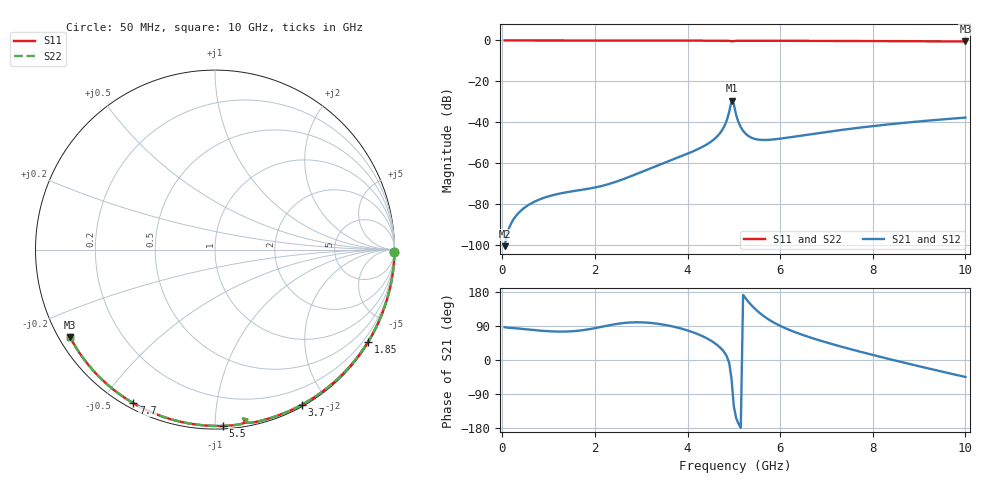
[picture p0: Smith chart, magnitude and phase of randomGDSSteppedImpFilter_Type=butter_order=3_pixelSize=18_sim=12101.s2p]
! freq	dB(S11)	phase(S11)	dB(S12)	phase(S12)
!  dB(S21)	phase(S21)	dB(S22)	phase(S22)
!S-par simulation data
#  GHz  S  DB  R 50
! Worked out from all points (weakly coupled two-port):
!   200 points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, 50 MHz to 10 GHz, reference 50 ohm
!   highest |S21| = -29.40 dB at 4.95 GHz (marker M1); lowest = -100.3 dB at 50 MHz (marker M2)
!   lowest |S11| = -0.5 dB at 10 GHz (marker M3), VSWR 34.31, Z = 1.57 - j14 ohm
!   |S11| at or under -10 dB: nowhere
!   |S22| runs from -0.5 to 0.0 dB; largest |S21 - S12| = 0
!   S11 on the Smith chart (normalised r, x): 50 MHz: open; 1.85 GHz: 0.03, -3.58; 3.7 GHz: 0.02, -1.70; 5.5 GHz: 0.02, -1.05; 7.7 GHz: 0.02, -0.60; 10 GHz: 0.03, -0.28
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0.05  -0.00 -0.9  -100.35 86.7  -100.35 86.7  -0.00 -0.9
0.6  -0.01 -10.3  -79.79 79.9  -79.79 79.9  -0.01 -10.3
1.05  -0.02 -17.9  -75.71 75.6  -75.71 75.6  -0.02 -17.9
1.75  -0.04 -29.6  -72.74 78.8  -72.74 78.8  -0.04 -29.6
1.85  -0.04 -31.2  -72.36 80.7  -72.36 80.7  -0.04 -31.2
2.45  -0.05 -41.0  -68.97 94.8  -68.97 94.8  -0.05 -41.0
3.4  -0.07 -56.2  -60.60 94.9  -60.60 94.9  -0.07 -56.2
3.7  -0.08 -60.9  -57.95 88.0  -57.95 88.0  -0.08 -60.9
4.3  -0.10 -70.1  -52.17 64.1  -52.17 64.1  -0.10 -70.1
4.65  -0.11 -75.5  -46.56 38.5  -46.56 38.5  -0.11 -75.5
4.75  -0.12 -77.1  -43.63 27.0  -43.63 27.0  -0.12 -77.1
4.85  -0.14 -78.8  -38.81 9.2  -38.81 9.2  -0.14 -78.8
4.95  -0.41 -80.6  -29.40 -50.0  -29.40 -50.0  -0.41 -80.6
5  -0.33 -79.2  -31.14 -122.5  -31.14 -122.5  -0.33 -79.2
5.05  -0.19 -80.2  -36.36 -153.1  -36.36 -153.1  -0.19 -80.2
5.1  -0.16 -81.2  -39.87 -168.2  -39.87 -168.2  -0.16 -81.2
5.2  -0.14 -82.9  -44.08 171.7  -44.08 171.7  -0.14 -82.9
5.5  -0.15 -87.4  -48.26 130.2  -48.26 130.2  -0.15 -87.4
6.7  -0.21 -104.4  -45.60 57.5  -45.60 57.5  -0.21 -104.4
7.7  -0.27 -118.0  -42.58 22.8  -42.58 22.8  -0.27 -118.0
8.35  -0.33 -126.7  -40.93 2.6  -40.93 2.6  -0.33 -126.7
10  -0.51 -148.7  -37.64 -44.7  -37.64 -44.7  -0.51 -148.7
